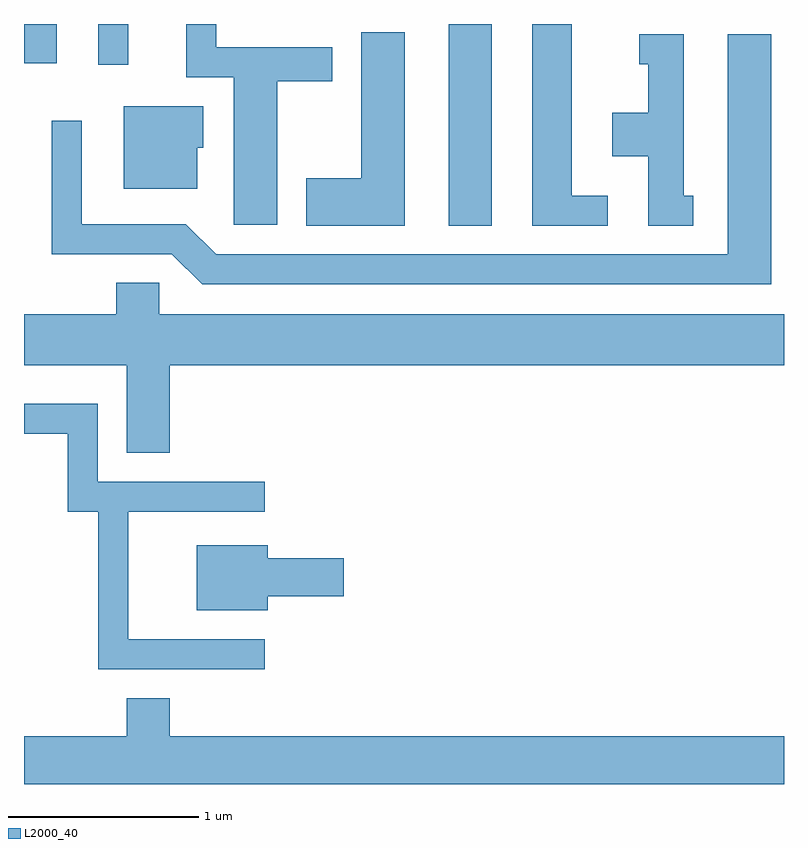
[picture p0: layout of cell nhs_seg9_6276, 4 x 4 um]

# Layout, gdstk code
import gdstk
lib = gdstk.Library(unit=1e-6, precision=1e-09)
def R(c, l, rs):  # rectangles x0, y0, x1, y1
    for r in rs: c.add(gdstk.rectangle(r[:2], r[2:], *l))
def P(c, l, *ps):  # polygons
    for p in ps: c.add(gdstk.Polygon(p, *l))
L2000_40 = (2000, 40)

nhs_seg9_6276 = lib.new_cell('nhs_seg9_6276')
R(nhs_seg9_6276, L2000_40, [(371.846,2061.371,372.074,2062.432), (370.001,2062.218,370.159,2062.432), (369.611,2062.226,369.784,2062.432)])
P(nhs_seg9_6276, L2000_40, [(372.683,2061.529),(372.494,2061.529),(372.494,2062.432),(372.286,2062.432),(372.286,2061.371),(372.683,2061.371)],
  [(370.944,2062.131),(371.234,2062.131),(371.234,2062.309),(370.624,2062.309),(370.624,2062.432),(370.466,2062.432),(370.466,2062.151),(370.716,2062.151),(370.716,2061.376),(370.944,2061.376)],
  [(371.614,2062.389),(371.386,2062.389),(371.386,2061.619),(371.096,2061.619),(371.096,2061.371),(371.614,2061.371)],
  [(373.133,2061.529),(373.084,2061.529),(373.084,2062.379),(372.848,2062.379),(372.848,2062.221),(372.896,2062.221),(372.896,2061.964),(372.706,2061.964),(372.706,2061.736),(372.896,2061.736),(372.896,2061.371),(373.133,2061.371)],
  [(373.544,2062.379),(373.316,2062.379),(373.316,2061.219),(370.622,2061.219),(370.462,2061.379),(369.914,2061.379),(369.914,2061.923),(369.756,2061.923),(369.756,2061.221),(370.389,2061.221),(370.549,2061.061),(373.544,2061.061)],
  [(370.524,2061.781),(370.554,2061.781),(370.554,2061.999),(370.136,2061.999),(370.136,2061.566),(370.524,2061.566)],
  [(370.379,2060.636),(373.611,2060.636),(373.611,2060.904),(370.324,2060.904),(370.324,2061.069),(370.096,2061.069),(370.096,2060.904),(369.611,2060.904),(369.611,2060.636),(370.151,2060.636),(370.151,2060.176),(370.379,2060.176)],
  [(370.878,2059.194),(370.159,2059.194),(370.159,2059.866),(370.878,2059.866),(370.878,2060.024),(369.999,2060.024),(369.999,2060.434),(369.611,2060.434),(369.611,2060.276),(369.841,2060.276),(369.841,2059.866),(370.001,2059.866),(370.001,2059.036),(370.878,2059.036)],
  [(370.894,2059.421),(371.294,2059.421),(371.294,2059.619),(370.894,2059.619),(370.894,2059.689),(370.521,2059.689),(370.521,2059.346),(370.894,2059.346)],
  [(373.611,2058.684),(370.379,2058.684),(370.379,2058.884),(370.151,2058.884),(370.151,2058.684),(369.611,2058.684),(369.611,2058.432),(373.611,2058.432)])

lib.write_gds('nhs_seg9_6276.gds')
